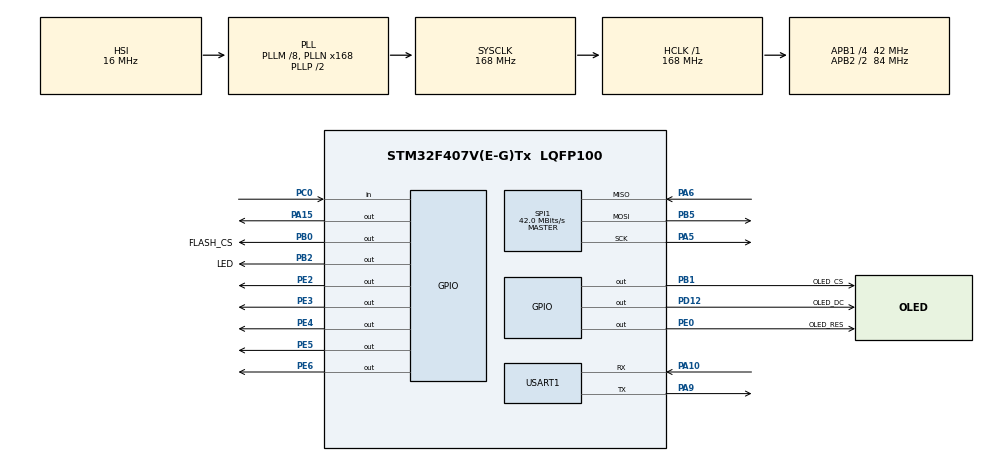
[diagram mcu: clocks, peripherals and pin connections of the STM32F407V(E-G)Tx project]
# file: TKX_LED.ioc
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FREERTOS.Tasks01=defaultTask,24,128,StartDefaultTask,Default,NULL,Dynamic,NULL,NULL
Mcu.Family=STM32F4
Mcu.Name=STM32F407V(E-G)Tx
Mcu.Package=LQFP100
NVIC.PriorityGroup=NVIC_PRIORITYGROUP_4
PA10.Mode=Asynchronous
PA10.Signal=USART1_RX
PA13.Mode=Serial_Wire
PA13.Signal=SYS_JTMS-SWDIO
PA14.Mode=Serial_Wire
PA14.Signal=SYS_JTCK-SWCLK
PA15.Signal=GPIO_Output
PA5.Mode=Full_Duplex_Master
PA5.Signal=SPI1_SCK
PA6.Mode=Full_Duplex_Master
PA6.Signal=SPI1_MISO
PA9.Mode=Asynchronous
PA9.Signal=USART1_TX
PB0.GPIO_Label=FLASH_CS
PB0.Signal=GPIO_Output
PB1.GPIO_Label=OLED_CS
PB1.Signal=GPIO_Output
PB2.GPIO_Label=LED
PB2.GPIO_Speed=GPIO_SPEED_FREQ_LOW
PB2.PinState=GPIO_PIN_RESET
PB2.Signal=GPIO_Output
PB5.Mode=Full_Duplex_Master
PB5.Signal=SPI1_MOSI
PC0.Signal=GPIO_Input
PD12.GPIO_Label=OLED_DC
PD12.Signal=GPIO_Output
PE0.GPIO_Label=OLED_RES
PE0.Signal=GPIO_Output
PE2.GPIO_Speed=GPIO_SPEED_FREQ_VERY_HIGH
PE2.Signal=GPIO_Output
PE3.GPIO_Speed=GPIO_SPEED_FREQ_VERY_HIGH
PE3.Signal=GPIO_Output
PE4.GPIO_Speed=GPIO_SPEED_FREQ_VERY_HIGH
PE4.Signal=GPIO_Output
PE5.GPIO_Speed=GPIO_SPEED_FREQ_VERY_HIGH
PE5.Signal=GPIO_Output
PE6.GPIO_Speed=GPIO_SPEED_FREQ_VERY_HIGH
PE6.Signal=GPIO_Output
PH0-OSC_IN.Mode=HSE-External-Oscillator
PH0-OSC_IN.Signal=RCC_OSC_IN
PH1-OSC_OUT.Mode=HSE-External-Oscillator
PH1-OSC_OUT.Signal=RCC_OSC_OUT
ProjectManager.HeapSize=0x200
ProjectManager.StackSize=0x400
ProjectManager.TargetToolchain=MDK-ARM V5.32
RCC.48MHZClocksFreq_Value=84000000
RCC.AHBFreq_Value=168000000
RCC.APB1CLKDivider=RCC_HCLK_DIV4
RCC.APB1Freq_Value=42000000
RCC.APB1TimFreq_Value=84000000
RCC.APB2CLKDivider=RCC_HCLK_DIV2
RCC.APB2Freq_Value=84000000
RCC.APB2TimFreq_Value=168000000
RCC.CortexFreq_Value=168000000
RCC.HCLKFreq_Value=168000000
RCC.HSE_VALUE=8000000
RCC.HSI_VALUE=16000000
RCC.LSE_VALUE=32768
RCC.PLLM=8
RCC.PLLN=168
RCC.SYSCLKFreq_VALUE=168000000
RCC.SYSCLKSource=RCC_SYSCLKSOURCE_PLLCLK
RCC.VCOOutputFreq_Value=336000000
SPI1.BaudRatePrescaler=SPI_BAUDRATEPRESCALER_2
SPI1.CalculateBaudRate=42.0 MBits/s
SPI1.Direction=SPI_DIRECTION_2LINES
SPI1.Mode=SPI_MODE_MASTER
SPI1.VirtualType=VM_MASTER
USART1.VirtualMode=VM_ASYNC
VP_FREERTOS_VS_CMSIS_V2.Mode=CMSIS_V2
board=custom

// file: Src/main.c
/* USER CODE BEGIN Header */
/**
  ******************************************************************************
  * @file           : main.c
  * @brief          : Main program body
  ******************************************************************************
  * @attention
  *
  * Copyright (c) 2025 STMicroelectronics.
  * All rights reserved.
  *
  * This software is licensed under terms that can be found in the LICENSE file
  * in the root directory of this software component.
  * If no LICENSE file comes with this software, it is provided AS-IS.
  *
  ******************************************************************************
  */
/* USER CODE END Header */
#include "main.h"
#include "cmsis_os.h"
#include "spi.h"
#include "usart.h"
#include "gpio.h"

void SystemClock_Config(void);
void MX_FREERTOS_Init(void);

int main(void)
{

  /* MCU Configuration--------------------------------------------------------*/

  /* Reset of all peripherals, Initializes the Flash interface and the Systick. */
  HAL_Init();

  /* Configure the system clock */
  SystemClock_Config();

  /* Initialize all configured peripherals */
  MX_GPIO_Init();
  MX_USART1_UART_Init();
  MX_SPI1_Init();

  /* Init scheduler */
  osKernelInitialize();

  /* Call init function for freertos objects (in cmsis_os2.c) */
  MX_FREERTOS_Init();

  /* Start scheduler */
  osKernelStart();

  /* We should never get here as control is now taken by the scheduler */

  /* Infinite loop */
  while (1)
  {

  }
}

void SystemClock_Config(void)
{
  RCC_OscInitTypeDef RCC_OscInitStruct = {0};
  RCC_ClkInitTypeDef RCC_ClkInitStruct = {0};

  /** Configure the main internal regulator output voltage
  */
  __HAL_RCC_PWR_CLK_ENABLE();
  __HAL_PWR_VOLTAGESCALING_CONFIG(PWR_REGULATOR_VOLTAGE_SCALE1);

  /** Initializes the RCC Oscillators according to the specified parameters
  * in the RCC_OscInitTypeDef structure.
  */
  RCC_OscInitStruct.OscillatorType = RCC_OSCILLATORTYPE_HSI;
  RCC_OscInitStruct.HSIState = RCC_HSI_ON;
  RCC_OscInitStruct.HSICalibrationValue = RCC_HSICALIBRATION_DEFAULT;
  RCC_OscInitStruct.PLL.PLLState = RCC_PLL_ON;
  RCC_OscInitStruct.PLL.PLLSource = RCC_PLLSOURCE_HSI;
  RCC_OscInitStruct.PLL.PLLM = 8;
  RCC_OscInitStruct.PLL.PLLN = 168;
  RCC_OscInitStruct.PLL.PLLP = RCC_PLLP_DIV2;
  RCC_OscInitStruct.PLL.PLLQ = 4;
  if (HAL_RCC_OscConfig(&RCC_OscInitStruct) != HAL_OK)
  {
    Error_Handler();
  }

  /** Initializes the CPU, AHB and APB buses clocks
  */
  RCC_ClkInitStruct.ClockType = RCC_CLOCKTYPE_HCLK|RCC_CLOCKTYPE_SYSCLK
                              |RCC_CLOCKTYPE_PCLK1|RCC_CLOCKTYPE_PCLK2;
  RCC_ClkInitStruct.SYSCLKSource = RCC_SYSCLKSOURCE_PLLCLK;
  RCC_ClkInitStruct.AHBCLKDivider = RCC_SYSCLK_DIV1;
  RCC_ClkInitStruct.APB1CLKDivider = RCC_HCLK_DIV4;
  RCC_ClkInitStruct.APB2CLKDivider = RCC_HCLK_DIV2;

  if (HAL_RCC_ClockConfig(&RCC_ClkInitStruct, FLASH_LATENCY_5) != HAL_OK)
  {
    Error_Handler();
  }
}

void Error_Handler(void)
{
  __disable_irq();
  while (1)
  {
  }
}

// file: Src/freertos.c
/* USER CODE BEGIN Header */
/**
  ******************************************************************************
  * File Name          : freertos.c
  * Description        : Code for freertos applications
  ******************************************************************************
  * @attention
  *
  * Copyright (c) 2025 STMicroelectronics.
  * All rights reserved.
  *
  * This software is licensed under terms that can be found in the LICENSE file
  * in the root directory of this software component.
  * If no LICENSE file comes with this software, it is provided AS-IS.
  *
  ******************************************************************************
  */
/* USER CODE END Header */

#include "FreeRTOS.h"
#include "task.h"
#include "main.h"
#include "cmsis_os.h"

/* USER CODE BEGIN Includes */
#include "74HC595.h"
#include "74HC165.h"
#include "oled_dirver.h"

#include "OLED_UI.h"
#include "OLED_UI_MenuData.h"

/* USER CODE END Includes */

/* Definitions for defaultTask */
osThreadId_t defaultTaskHandle;
const osThreadAttr_t defaultTask_attributes = {
  .name = "defaultTask",
  .stack_size = 128 * 12,
  .priority = (osPriority_t) osPriorityNormal,
};

osTimerId_t uiTimerHandle;
const osTimerAttr_t uiTimer_attributes = {
  .name = "UITimer"
};

osTimerId_t ledTimerHandle;
const osTimerAttr_t ledTimer_attributes = {
  .name = "LEDTimer"
};

// LED状态表
typedef struct {
  uint8_t led1;
  uint8_t led2;
  uint8_t led3;
  uint8_t led4;
} LedState;

// 定义LED状态序列
const LedState ledStates[12] = {
  {1, 0, 0, 0}, // 状态0: 仅LED1亮
  {0, 1, 0, 0}, // 状态1: 仅LED2亮
  {0, 0, 1, 0}, // 状态2: 仅LED3亮
  {0, 0, 0, 1}, // 状态3: 仅LED4亮
  {1, 1, 0, 0}, // 状态4: LED1和LED2亮
  {0, 1, 1, 0}, // 状态5: LED2和LED3亮
  {0, 0, 1, 1}, // 状态6: LED3和LED4亮
  {1, 0, 1, 0}, // 状态7: LED1和LED3亮
  {1, 0, 0, 1}, // 状态8: LED1和LED4亮
  {0, 1, 0, 1}, // 状态9: LED2和LED4亮
  {1, 1, 1, 1}, // 状态10: 全亮
  {0, 0, 0, 0}  // 状态11: 全灭
};

uint8_t currentLedStateIndex = 0;  // 当前LED状态索引

/* USER CODE BEGIN FunctionPrototypes */

void UI_TimerCallback(void *argument);
void LED_TimerCallback(void *argument);
/* USER CODE END FunctionPrototypes */

void StartDefaultTask(void *argument);

void MX_FREERTOS_Init(void); /* (MISRA C 2004 rule 8.1) */

void MX_FREERTOS_Init(void) {

  /* Create the thread(s) */
  /* creation of defaultTask */
  defaultTaskHandle = osThreadNew(StartDefaultTask, NULL, &defaultTask_attributes);

  /* USER CODE BEGIN RTOS_THREADS */
  /* add threads, ... */

  uiTimerHandle = osTimerNew(UI_TimerCallback, osTimerPeriodic, NULL, &uiTimer_attributes);
  osTimerStart(uiTimerHandle, 20);  // 设置20ms周期

  ledTimerHandle = osTimerNew(LED_TimerCallback, osTimerPeriodic, NULL, &ledTimer_attributes);
  osTimerStart(ledTimerHandle, 1000);  // 设置1000ms周期

  /* USER CODE END RTOS_THREADS */

}

void StartDefaultTask(void *argument)
{
  /* USER CODE BEGIN StartDefaultTask */
  HC595_Init(); // Initialize the 74HC595
  HC165_Init(); // Initialize the 74HC165
  OLED_UI_Init(&MainMenuPage);
  /* Infinite loop */
  for(;;)
  {
    OLED_UI_MainLoop();
    osDelay(1);
  }
  /* USER CODE END StartDefaultTask */
}

/* USER CODE BEGIN Application */
/**
  * @brief  UI定时器回调函数，20ms周期调用
  * @param  argument: 未使用
  * @retval 无
  */
 void UI_TimerCallback(void *argument)
 {
   /* 调用OLED_UI中断处理函数 */
   OLED_UI_InterruptHandler();
 }

 /**
  * @brief  LED定时器回调函数，1000ms周期调用
  * @param  argument: 未使用
  * @retval 无
  */
void LED_TimerCallback(void *argument)
{
  // 获取当前状态
  const LedState* currentState = &ledStates[currentLedStateIndex];

  // 根据当前状态控制LED
  if (currentState->led1) {
    HC595_SetIOHigh(0);  // 点亮LED1
  } else {
    HC595_SetIOLow(0); // 熄灭LED1
  }

  if (currentState->led2) {
    HC595_SetIOHigh(1);  // 点亮LED2
  } else {
    HC595_SetIOLow(1); // 熄灭LED2
  }

  if (currentState->led3) {
    HC595_SetIOHigh(2);  // 点亮LED3
  } else {
    HC595_SetIOLow(2); // 熄灭LED3
  }

  if (currentState->led4) {
    HC595_SetIOHigh(3);  // 点亮LED4
  } else {
    HC595_SetIOLow(3); // 熄灭LED4
  }

  // 更新为下一个状态
  currentLedStateIndex = (currentLedStateIndex + 1) % 12;
}

/* USER CODE END Application */
